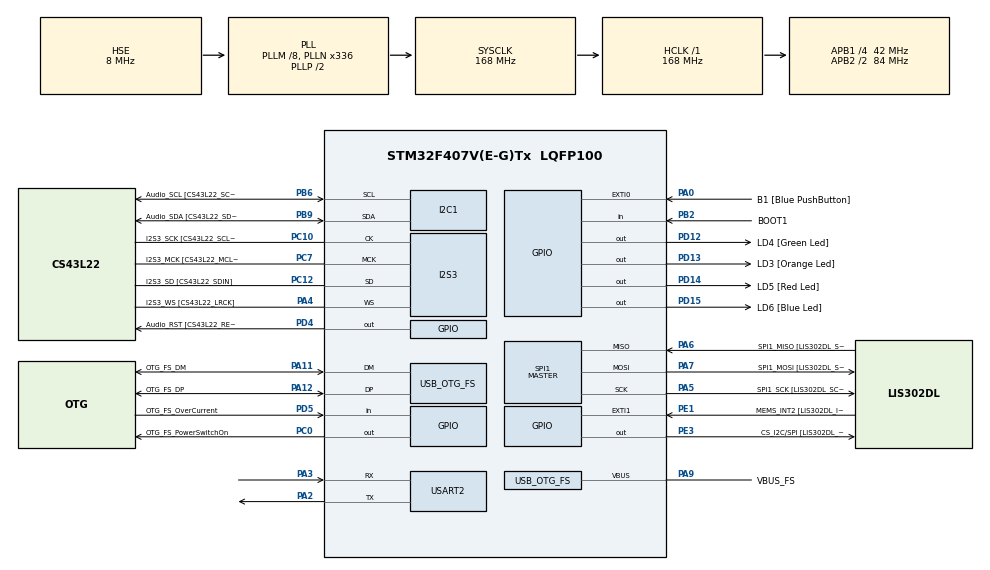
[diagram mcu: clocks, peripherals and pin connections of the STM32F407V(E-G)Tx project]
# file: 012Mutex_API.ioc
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I2S3.AudioFreq-Half_Duplex_Master=I2S_AUDIOFREQ_96K
I2S3.ErrorAudioFreq=-2.34 %
I2S3.ErrorAudioFreq-Half_Duplex_Master=0.8 %
I2S3.FullDuplexMode=I2S_FULLDUPLEXMODE_DISABLE
I2S3.Instance=SPI$Index
I2S3.RealAudioFreq=93.75 KHz
I2S3.RealAudioFreq-Half_Duplex_Master=96.774 KHz
I2S3.VirtualMode=I2S_MODE_MASTER
Mcu.Family=STM32F4
Mcu.Name=STM32F407V(E-G)Tx
Mcu.Package=LQFP100
NVIC.OTG_FS_IRQn=true\:0\:0\:false\:false\:true\:true\:true\:true
NVIC.PriorityGroup=NVIC_PRIORITYGROUP_4
NVIC.TIM6_DAC_IRQn=true\:0\:0\:false\:false\:true\:false\:true\:true
NVIC.TimeBase=TIM6_DAC_IRQn
NVIC.TimeBaseIP=TIM6
PA0-WKUP.GPIO_Label=B1 [Blue PushButton]
PA0-WKUP.GPIO_ModeDefaultEXTI=GPIO_MODE_EVT_RISING
PA0-WKUP.GPIO_PuPd=GPIO_NOPULL
PA0-WKUP.Signal=GPXTI0
PA10.GPIO_Label=OTG_FS_ID
PA10.GPIO_Mode=GPIO_MODE_AF_PP
PA10.GPIO_PuPd=GPIO_NOPULL
PA10.GPIO_Speed=GPIO_SPEED_FREQ_LOW
PA10.Signal=USB_OTG_FS_ID
PA11.GPIO_Label=OTG_FS_DM
PA11.GPIO_Mode=GPIO_MODE_AF_PP
PA11.GPIO_PuPd=GPIO_NOPULL
PA11.GPIO_Speed=GPIO_SPEED_FREQ_LOW
PA11.Mode=Host_Only
PA11.Signal=USB_OTG_FS_DM
PA12.GPIO_Label=OTG_FS_DP
PA12.GPIO_Mode=GPIO_MODE_AF_PP
PA12.GPIO_PuPd=GPIO_NOPULL
PA12.GPIO_Speed=GPIO_SPEED_FREQ_LOW
PA12.Mode=Host_Only
PA12.Signal=USB_OTG_FS_DP
PA13.GPIO_Label=SWDIO
PA13.Mode=Serial_Wire
PA13.Signal=SYS_JTMS-SWDIO
PA14.GPIO_Label=SWCLK
PA14.Mode=Serial_Wire
PA14.Signal=SYS_JTCK-SWCLK
PA2.Mode=Asynchronous
PA2.Signal=USART2_TX
PA3.Mode=Asynchronous
PA3.Signal=USART2_RX
PA4.GPIO_Label=I2S3_WS [CS43L22_LRCK]
PA4.GPIO_Mode=GPIO_MODE_AF_PP
PA4.GPIO_PuPd=GPIO_NOPULL
PA4.GPIO_Speed=GPIO_SPEED_FREQ_LOW
PA4.Mode=Half_Duplex_Master
PA4.Signal=I2S3_WS
PA5.GPIO_Label=SPI1_SCK [LIS302DL_SCL/SPC]
PA5.GPIO_Mode=GPIO_MODE_AF_PP
PA5.GPIO_PuPd=GPIO_NOPULL
PA5.GPIO_Speed=GPIO_SPEED_FREQ_LOW
PA5.Mode=Full_Duplex_Master
PA5.Signal=SPI1_SCK
PA6.GPIO_Label=SPI1_MISO [LIS302DL_SDO]
PA6.GPIO_Mode=GPIO_MODE_AF_PP
PA6.GPIO_PuPd=GPIO_NOPULL
PA6.GPIO_Speed=GPIO_SPEED_FREQ_LOW
PA6.Mode=Full_Duplex_Master
PA6.Signal=SPI1_MISO
PA7.GPIO_Label=SPI1_MOSI [LIS302DL_SDA/SDI/SDO]
PA7.GPIO_Mode=GPIO_MODE_AF_PP
PA7.GPIO_PuPd=GPIO_NOPULL
PA7.GPIO_Speed=GPIO_SPEED_FREQ_LOW
PA7.Mode=Full_Duplex_Master
PA7.Signal=SPI1_MOSI
PA9.GPIO_Label=VBUS_FS
PA9.GPIO_Mode=GPIO_MODE_INPUT
PA9.GPIO_PuPd=GPIO_NOPULL
PA9.Mode=Activate_VBUS
PA9.Signal=USB_OTG_FS_VBUS
PB10.GPIO_Label=CLK_IN [MP45DT02_CLK]
PB10.GPIO_Mode=GPIO_MODE_AF_PP
PB10.GPIO_PuPd=GPIO_NOPULL
PB10.GPIO_Speed=GPIO_SPEED_FREQ_LOW
PB10.Signal=I2S2_CK
PB2.GPIO_Label=BOOT1
PB2.GPIO_Mode=GPIO_MODE_INPUT
PB2.GPIO_PuPd=GPIO_NOPULL
PB2.Signal=GPIO_Input
PB3.GPIO_Label=SWO
PB3.Signal=SYS_JTDO-SWO
PB6.GPIO_Label=Audio_SCL [CS43L22_SCL]
PB6.GPIO_Mode=GPIO_MODE_AF_OD
PB6.GPIO_Pu=GPIO_PULLUP
PB6.GPIO_PuPd=GPIO_NOPULL
PB6.GPIO_Speed=GPIO_SPEED_FREQ_LOW
PB6.Mode=I2C
PB6.Signal=I2C1_SCL
PB9.GPIO_Label=Audio_SDA [CS43L22_SDA]
PB9.GPIO_Mode=GPIO_MODE_AF_OD
PB9.GPIO_Pu=GPIO_PULLUP
PB9.GPIO_PuPd=GPIO_NOPULL
PB9.GPIO_Speed=GPIO_SPEED_FREQ_LOW
PB9.Mode=I2C
PB9.Signal=I2C1_SDA
PC0.GPIO_Label=OTG_FS_PowerSwitchOn
PC0.GPIO_PuPd=GPIO_NOPULL
PC0.GPIO_Speed=GPIO_SPEED_FREQ_LOW
PC0.PinState=GPIO_PIN_SET
PC0.Signal=GPIO_Output
PC10.GPIO_Label=I2S3_SCK [CS43L22_SCLK]
PC10.GPIO_Mode=GPIO_MODE_AF_PP
PC10.GPIO_PuPd=GPIO_NOPULL
PC10.GPIO_Speed=GPIO_SPEED_FREQ_LOW
PC10.Mode=Half_Duplex_Master
PC10.Signal=I2S3_CK
PC12.GPIO_Label=I2S3_SD [CS43L22_SDIN]
PC12.GPIO_Mode=GPIO_MODE_AF_PP
PC12.GPIO_PuPd=GPIO_NOPULL
PC12.GPIO_Speed=GPIO_SPEED_FREQ_LOW
PC12.Mode=Half_Duplex_Master
PC12.Signal=I2S3_SD
PC14-OSC32_IN.GPIO_Label=PC14-OSC32_IN
PC14-OSC32_IN.Mode=LSE-External-Oscillator
PC14-OSC32_IN.Signal=RCC_OSC32_IN
PC15-OSC32_OUT.GPIO_Label=PC15-OSC32_OUT
PC15-OSC32_OUT.Mode=LSE-External-Oscillator
PC15-OSC32_OUT.Signal=RCC_OSC32_OUT
PC3.GPIO_Label=PDM_OUT [MP45DT02_DOUT]
PC3.GPIO_Mode=GPIO_MODE_AF_PP
PC3.GPIO_PuPd=GPIO_NOPULL
PC3.GPIO_Speed=GPIO_SPEED_FREQ_LOW
PC3.Signal=I2S2_SD
PC7.GPIO_Label=I2S3_MCK [CS43L22_MCLK]
PC7.GPIO_Mode=GPIO_MODE_AF_PP
PC7.GPIO_PuPd=GPIO_NOPULL
PC7.GPIO_Speed=GPIO_SPEED_FREQ_LOW
PC7.Mode=Master_Clock_Activated
PC7.Signal=I2S3_MCK
PD12.GPIO_Label=LD4 [Green Led]
PD12.GPIO_PuPd=GPIO_NOPULL
PD12.GPIO_Speed=GPIO_SPEED_FREQ_LOW
PD12.Signal=GPIO_Output
PD13.GPIO_Label=LD3 [Orange Led]
PD13.GPIO_PuPd=GPIO_NOPULL
PD13.GPIO_Speed=GPIO_SPEED_FREQ_LOW
PD13.Signal=GPIO_Output
PD14.GPIO_Label=LD5 [Red Led]
PD14.GPIO_PuPd=GPIO_NOPULL
PD14.GPIO_Speed=GPIO_SPEED_FREQ_LOW
PD14.Signal=GPIO_Output
PD15.GPIO_Label=LD6 [Blue Led]
PD15.GPIO_PuPd=GPIO_NOPULL
PD15.GPIO_Speed=GPIO_SPEED_FREQ_LOW
PD15.Signal=GPIO_Output
PD4.GPIO_Label=Audio_RST [CS43L22_RESET]
PD4.GPIO_PuPd=GPIO_NOPULL
PD4.GPIO_Speed=GPIO_SPEED_FREQ_LOW
PD4.Signal=GPIO_Output
PD5.GPIO_Label=OTG_FS_OverCurrent
PD5.GPIO_Mode=GPIO_MODE_INPUT
PD5.GPIO_PuPd=GPIO_NOPULL
PD5.Signal=GPIO_Input
PE1.GPIO_Label=MEMS_INT2 [LIS302DL_INT2]
PE1.GPIO_ModeDefaultEXTI=GPIO_MODE_EVT_RISING
PE1.GPIO_PuPd=GPIO_NOPULL
PE1.Signal=GPXTI1
PE3.GPIO_Label=CS_I2C/SPI [LIS302DL_CS_I2C/SPI]
PE3.GPIO_PuPd=GPIO_NOPULL
PE3.GPIO_Speed=GPIO_SPEED_FREQ_LOW
PE3.Signal=GPIO_Output
PH0-OSC_IN.GPIO_Label=PH0-OSC_IN
PH0-OSC_IN.Mode=HSE-External-Oscillator
PH0-OSC_IN.Signal=RCC_OSC_IN
PH1-OSC_OUT.GPIO_Label=PH1-OSC_OUT
PH1-OSC_OUT.Mode=HSE-External-Oscillator
PH1-OSC_OUT.Signal=RCC_OSC_OUT
ProjectManager.HeapSize=0x200
ProjectManager.StackSize=0x400
ProjectManager.TargetToolchain=STM32CubeIDE
RCC.48MHZClocksFreq_Value=48000000
RCC.AHBFreq_Value=168000000
RCC.APB1CLKDivider=RCC_HCLK_DIV4
RCC.APB1Freq_Value=42000000
RCC.APB1TimFreq_Value=84000000
RCC.APB2CLKDivider=RCC_HCLK_DIV2
RCC.APB2Freq_Value=84000000
RCC.APB2TimFreq_Value=168000000
RCC.CortexFreq_Value=168000000
RCC.HCLKFreq_Value=168000000
RCC.HSE_VALUE=8000000
RCC.HSI_VALUE=16000000
RCC.PLLM=8
RCC.PLLN=336
RCC.PLLQ=7
RCC.SYSCLKFreq_VALUE=168000000
RCC.SYSCLKSource=RCC_SYSCLKSOURCE_PLLCLK
RCC.VCOOutputFreq_Value=336000000
SPI1.BaudRatePrescaler-Full_Duplex_Master=SPI_BAUDRATEPRESCALER_2
SPI1.CalculateBaudRate-Full_Duplex_Master=42.0 MBits/s
SPI1.Direction=SPI_DIRECTION_2LINES
SPI1.Mode=SPI_MODE_MASTER
SPI1.Mode-Full_Duplex_Master=SPI_MODE_MASTER
SPI1.VirtualType=VM_MASTER
USART2.VirtualMode=VM_ASYNC
USB_HOST.BSP.number=1
USB_HOST.USBH_HandleTypeDef-CDC_FS=hUsbHostFS
USB_HOST.VirtualModeFS=Cdc
USB_HOST0.BSP.STBoard=false
USB_HOST0.BSP.api=Unknown
USB_HOST0.BSP.instance=PC0
USB_HOST0.BSP.ip=GPIO
USB_HOST0.BSP.mode=Output
USB_HOST0.BSP.name=Drive_VBUS_FS
USB_HOST0.BSP.solution=PC0
USB_OTG_FS.VirtualMode=Host_Only
USB_OTG_FS.phy_itface=HCD_PHY_EMBEDDED
VP_SYS_VS_tim6.Mode=TIM6
VP_USB_HOST_VS_USB_HOST_CDC_FS.Mode=CDC_FS
board=STM32F407G-DISC1

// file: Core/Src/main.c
/* USER CODE BEGIN Header */
/**
  ******************************************************************************
  * @file           : main.c
  * @brief          : Main program body
  ******************************************************************************
  * @attention
  *
  * Copyright (c) 2024 STMicroelectronics.
  * All rights reserved.
  *
  * This software is licensed under terms that can be found in the LICENSE file
  * in the root directory of this software component.
  * If no LICENSE file comes with this software, it is provided AS-IS.
  *
  ******************************************************************************
  */
/* USER CODE END Header */
#include "main.h"
#include "usb_host.h"

/* USER CODE BEGIN Includes */

//MUTEX switch : un-comment the below line to use mutex
#define USE_MUTEX

#include <stdio.h>
#include <stdlib.h>
#include <string.h>
#include "FreeRTOS.h"
#include "task.h"
#include "semphr.h"
/* USER CODE END Includes */

I2C_HandleTypeDef hi2c1;

I2S_HandleTypeDef hi2s3;

SPI_HandleTypeDef hspi1;

UART_HandleTypeDef huart2;

void SystemClock_Config(void);
static void MX_GPIO_Init(void);
static void MX_I2C1_Init(void);
static void MX_I2S3_Init(void);
static void MX_SPI1_Init(void);
static void MX_USART2_UART_Init(void);
void MX_USB_HOST_Process(void);

/* USER CODE BEGIN 0 */
char usr_msg[250]={0};
TaskHandle_t xTaskHandle1=NULL;
TaskHandle_t xTaskHandle2=NULL;

/* Dimensions the buffer into which messages destined for stdout are placed. */
#define mainMAX_MSG_LEN	( 80 )

/* The task to be created.  Two instances of this task are created. */
static void prvPrintTask( void *pvParameters );

/* The function that uses a mutex to control access to standard out. */
static void prvNewPrintString( const portCHAR *pcString );

#ifdef USE_MUTEX
/* Declare a variable of type xSemaphoreHandle.  This is used to reference the
mutex type semaphore that is used to ensure mutual exclusive access to UART. */
xSemaphoreHandle xMutex;
#endif
/* USER CODE END 0 */

int main(void)
{

  /* MCU Configuration--------------------------------------------------------*/

  /* Reset of all peripherals, Initializes the Flash interface and the Systick. */
  HAL_Init();

  /* Configure the system clock */
  SystemClock_Config();

  /* Initialize all configured peripherals */
  MX_GPIO_Init();
  MX_I2C1_Init();
  MX_I2S3_Init();
  MX_SPI1_Init();
  MX_USB_HOST_Init();
  MX_USART2_UART_Init();
  /* USER CODE BEGIN 2 */

#ifdef USE_MUTEX
    /* Before a semaphore is used it must be explicitly created.  In this example
	a mutex type semaphore is created. */
    xMutex = xSemaphoreCreateMutex();
#endif

	/* The tasks are going to use a pseudo random delay, seed the random number
	generator. */
	srand( 567 );

#ifdef USE_MUTEX
	/* Only create the tasks if the semaphore was created successfully. */
	if( xMutex != NULL )
	{
#endif
		/* Create two instances of the tasks that attempt to write stdout.  The
		string they attempt to write is passed in as the task parameter.  The tasks
		are created at different priorities so some pre-emption will occur. */
		xTaskCreate( prvPrintTask, "Print1", 240, "Task 1 ******************************************\r\n", 1, NULL );
		xTaskCreate( prvPrintTask, "Print2", 240, "Task 2 ------------------------------------------\r\n", 2, NULL );

		/* Start the scheduler so the created tasks start executing. */
		vTaskStartScheduler();
#ifdef USE_MUTEX
	}
#endif
  /* USER CODE END 2 */

  /* Infinite loop */
  while (1)
  {
    MX_USB_HOST_Process();

  }
}

void SystemClock_Config(void)
{
  RCC_OscInitTypeDef RCC_OscInitStruct = {0};
  RCC_ClkInitTypeDef RCC_ClkInitStruct = {0};

  /** Configure the main internal regulator output voltage
  */
  __HAL_RCC_PWR_CLK_ENABLE();
  __HAL_PWR_VOLTAGESCALING_CONFIG(PWR_REGULATOR_VOLTAGE_SCALE1);

  /** Initializes the RCC Oscillators according to the specified parameters
  * in the RCC_OscInitTypeDef structure.
  */
  RCC_OscInitStruct.OscillatorType = RCC_OSCILLATORTYPE_HSE;
  RCC_OscInitStruct.HSEState = RCC_HSE_ON;
  RCC_OscInitStruct.PLL.PLLState = RCC_PLL_ON;
  RCC_OscInitStruct.PLL.PLLSource = RCC_PLLSOURCE_HSE;
  RCC_OscInitStruct.PLL.PLLM = 8;
  RCC_OscInitStruct.PLL.PLLN = 336;
  RCC_OscInitStruct.PLL.PLLP = RCC_PLLP_DIV2;
  RCC_OscInitStruct.PLL.PLLQ = 7;
  if (HAL_RCC_OscConfig(&RCC_OscInitStruct) != HAL_OK)
  {
    Error_Handler();
  }

  /** Initializes the CPU, AHB and APB buses clocks
  */
  RCC_ClkInitStruct.ClockType = RCC_CLOCKTYPE_HCLK|RCC_CLOCKTYPE_SYSCLK
                              |RCC_CLOCKTYPE_PCLK1|RCC_CLOCKTYPE_PCLK2;
  RCC_ClkInitStruct.SYSCLKSource = RCC_SYSCLKSOURCE_PLLCLK;
  RCC_ClkInitStruct.AHBCLKDivider = RCC_SYSCLK_DIV1;
  RCC_ClkInitStruct.APB1CLKDivider = RCC_HCLK_DIV4;
  RCC_ClkInitStruct.APB2CLKDivider = RCC_HCLK_DIV2;

  if (HAL_RCC_ClockConfig(&RCC_ClkInitStruct, FLASH_LATENCY_5) != HAL_OK)
  {
    Error_Handler();
  }
}

static void MX_I2C1_Init(void)
{

  hi2c1.Instance = I2C1;
  hi2c1.Init.ClockSpeed = 100000;
  hi2c1.Init.DutyCycle = I2C_DUTYCYCLE_2;
  hi2c1.Init.OwnAddress1 = 0;
  hi2c1.Init.AddressingMode = I2C_ADDRESSINGMODE_7BIT;
  hi2c1.Init.DualAddressMode = I2C_DUALADDRESS_DISABLE;
  hi2c1.Init.OwnAddress2 = 0;
  hi2c1.Init.GeneralCallMode = I2C_GENERALCALL_DISABLE;
  hi2c1.Init.NoStretchMode = I2C_NOSTRETCH_DISABLE;
  if (HAL_I2C_Init(&hi2c1) != HAL_OK)
  {
    Error_Handler();
  }

}

static void MX_I2S3_Init(void)
{

  hi2s3.Instance = SPI3;
  hi2s3.Init.Mode = I2S_MODE_MASTER_TX;
  hi2s3.Init.Standard = I2S_STANDARD_PHILIPS;
  hi2s3.Init.DataFormat = I2S_DATAFORMAT_16B;
  hi2s3.Init.MCLKOutput = I2S_MCLKOUTPUT_ENABLE;
  hi2s3.Init.AudioFreq = I2S_AUDIOFREQ_96K;
  hi2s3.Init.CPOL = I2S_CPOL_LOW;
  hi2s3.Init.ClockSource = I2S_CLOCK_PLL;
  hi2s3.Init.FullDuplexMode = I2S_FULLDUPLEXMODE_DISABLE;
  if (HAL_I2S_Init(&hi2s3) != HAL_OK)
  {
    Error_Handler();
  }

}

static void MX_SPI1_Init(void)
{

  /* SPI1 parameter configuration*/
  hspi1.Instance = SPI1;
  hspi1.Init.Mode = SPI_MODE_MASTER;
  hspi1.Init.Direction = SPI_DIRECTION_2LINES;
  hspi1.Init.DataSize = SPI_DATASIZE_8BIT;
  hspi1.Init.CLKPolarity = SPI_POLARITY_LOW;
  hspi1.Init.CLKPhase = SPI_PHASE_1EDGE;
  hspi1.Init.NSS = SPI_NSS_SOFT;
  hspi1.Init.BaudRatePrescaler = SPI_BAUDRATEPRESCALER_2;
  hspi1.Init.FirstBit = SPI_FIRSTBIT_MSB;
  hspi1.Init.TIMode = SPI_TIMODE_DISABLE;
  hspi1.Init.CRCCalculation = SPI_CRCCALCULATION_DISABLE;
  hspi1.Init.CRCPolynomial = 10;
  if (HAL_SPI_Init(&hspi1) != HAL_OK)
  {
    Error_Handler();
  }

}

static void MX_USART2_UART_Init(void)
{

  huart2.Instance = USART2;
  huart2.Init.BaudRate = 115200;
  huart2.Init.WordLength = UART_WORDLENGTH_8B;
  huart2.Init.StopBits = UART_STOPBITS_1;
  huart2.Init.Parity = UART_PARITY_NONE;
  huart2.Init.Mode = UART_MODE_TX_RX;
  huart2.Init.HwFlowCtl = UART_HWCONTROL_NONE;
  huart2.Init.OverSampling = UART_OVERSAMPLING_16;
  if (HAL_UART_Init(&huart2) != HAL_OK)
  {
    Error_Handler();
  }

}

static void MX_GPIO_Init(void)
{
  GPIO_InitTypeDef GPIO_InitStruct = {0};

  /* GPIO Ports Clock Enable */
  __HAL_RCC_GPIOE_CLK_ENABLE();
  __HAL_RCC_GPIOC_CLK_ENABLE();
  __HAL_RCC_GPIOH_CLK_ENABLE();
  __HAL_RCC_GPIOA_CLK_ENABLE();
  __HAL_RCC_GPIOB_CLK_ENABLE();
  __HAL_RCC_GPIOD_CLK_ENABLE();

  /*Configure GPIO pin Output Level */
  HAL_GPIO_WritePin(CS_I2C_SPI_GPIO_Port, CS_I2C_SPI_Pin, GPIO_PIN_RESET);

  /*Configure GPIO pin Output Level */
  HAL_GPIO_WritePin(OTG_FS_PowerSwitchOn_GPIO_Port, OTG_FS_PowerSwitchOn_Pin, GPIO_PIN_SET);

  /*Configure GPIO pin Output Level */
  HAL_GPIO_WritePin(GPIOD, LD4_Pin|LD3_Pin|LD5_Pin|LD6_Pin
                          |Audio_RST_Pin, GPIO_PIN_RESET);

  /*Configure GPIO pin : CS_I2C_SPI_Pin */
  GPIO_InitStruct.Pin = CS_I2C_SPI_Pin;
  GPIO_InitStruct.Mode = GPIO_MODE_OUTPUT_PP;
  GPIO_InitStruct.Pull = GPIO_NOPULL;
  GPIO_InitStruct.Speed = GPIO_SPEED_FREQ_LOW;
  HAL_GPIO_Init(CS_I2C_SPI_GPIO_Port, &GPIO_InitStruct);

  /*Configure GPIO pin : OTG_FS_PowerSwitchOn_Pin */
  GPIO_InitStruct.Pin = OTG_FS_PowerSwitchOn_Pin;
  GPIO_InitStruct.Mode = GPIO_MODE_OUTPUT_PP;
  GPIO_InitStruct.Pull = GPIO_NOPULL;
  GPIO_InitStruct.Speed = GPIO_SPEED_FREQ_LOW;
  HAL_GPIO_Init(OTG_FS_PowerSwitchOn_GPIO_Port, &GPIO_InitStruct);

  /*Configure GPIO pin : PDM_OUT_Pin */
  GPIO_InitStruct.Pin = PDM_OUT_Pin;
  GPIO_InitStruct.Mode = GPIO_MODE_AF_PP;
  GPIO_InitStruct.Pull = GPIO_NOPULL;
  GPIO_InitStruct.Speed = GPIO_SPEED_FREQ_LOW;
  GPIO_InitStruct.Alternate = GPIO_AF5_SPI2;
  HAL_GPIO_Init(PDM_OUT_GPIO_Port, &GPIO_InitStruct);

  /*Configure GPIO pin : B1_Pin */
  GPIO_InitStruct.Pin = B1_Pin;
  GPIO_InitStruct.Mode = GPIO_MODE_EVT_RISING;
  GPIO_InitStruct.Pull = GPIO_NOPULL;
  HAL_GPIO_Init(B1_GPIO_Port, &GPIO_InitStruct);

  /*Configure GPIO pin : BOOT1_Pin */
  GPIO_InitStruct.Pin = BOOT1_Pin;
  GPIO_InitStruct.Mode = GPIO_MODE_INPUT;
  GPIO_InitStruct.Pull = GPIO_NOPULL;
  HAL_GPIO_Init(BOOT1_GPIO_Port, &GPIO_InitStruct);

  /*Configure GPIO pin : CLK_IN_Pin */
  GPIO_InitStruct.Pin = CLK_IN_Pin;
  GPIO_InitStruct.Mode = GPIO_MODE_AF_PP;
  GPIO_InitStruct.Pull = GPIO_NOPULL;
  GPIO_InitStruct.Speed = GPIO_SPEED_FREQ_LOW;
  GPIO_InitStruct.Alternate = GPIO_AF5_SPI2;
  HAL_GPIO_Init(CLK_IN_GPIO_Port, &GPIO_InitStruct);

  /*Configure GPIO pins : LD4_Pin LD3_Pin LD5_Pin LD6_Pin
                           Audio_RST_Pin */
  GPIO_InitStruct.Pin = LD4_Pin|LD3_Pin|LD5_Pin|LD6_Pin
                          |Audio_RST_Pin;
  GPIO_InitStruct.Mode = GPIO_MODE_OUTPUT_PP;
  GPIO_InitStruct.Pull = GPIO_NOPULL;
  GPIO_InitStruct.Speed = GPIO_SPEED_FREQ_LOW;
  HAL_GPIO_Init(GPIOD, &GPIO_InitStruct);

  /*Configure GPIO pin : OTG_FS_OverCurrent_Pin */
  GPIO_InitStruct.Pin = OTG_FS_OverCurrent_Pin;
  GPIO_InitStruct.Mode = GPIO_MODE_INPUT;
  GPIO_InitStruct.Pull = GPIO_NOPULL;
  HAL_GPIO_Init(OTG_FS_OverCurrent_GPIO_Port, &GPIO_InitStruct);

  /*Configure GPIO pin : MEMS_INT2_Pin */
  GPIO_InitStruct.Pin = MEMS_INT2_Pin;
  GPIO_InitStruct.Mode = GPIO_MODE_EVT_RISING;
  GPIO_InitStruct.Pull = GPIO_NOPULL;
  HAL_GPIO_Init(MEMS_INT2_GPIO_Port, &GPIO_InitStruct);

}

/* USER CODE BEGIN 4 */

static void prvNewPrintString( const portCHAR *pcString )
{
	static char cBuffer[ mainMAX_MSG_LEN ];

#ifdef USE_MUTEX
	/* The semaphore is created before the scheduler is started so already
	exists by the time this task executes.

	Attempt to take the semaphore, blocking indefinitely if the mutex is not
	available immediately.  The call to xSemaphoreTake() will only return when
	the semaphore has been successfully obtained so there is no need to check the
	return value.  If any other delay period was used then the code must check
	that xSemaphoreTake() returns pdTRUE before accessing the resource (in this
	case standard out. */
	xSemaphoreTake( xMutex, portMAX_DELAY );
	{
#endif
		/* The following line will only execute once the semaphore has been
		successfully obtained - so standard out can be accessed freely. */
		sprintf( cBuffer, "%s", pcString );
		printf(cBuffer);
#ifdef USE_MUTEX
	}
	xSemaphoreGive( xMutex );
#endif

}

static void prvPrintTask( void *pvParameters )
{
	char *pcStringToPrint;

	/* Two instances of this task are created so the string the task will send
	to prvNewPrintString() is passed in the task parameter.  Cast this to the
	required type. */
	pcStringToPrint = ( char * ) pvParameters;

	for( ;; )
	{
		/* Print out the string using the newly defined function. */
		prvNewPrintString( pcStringToPrint );

		/* Wait a pseudo random time.  Note that rand() is not necessarily
		re-entrant, but in this case it does not really matter as the code does
		not care what value is returned.  In a more secure application a version
		of rand() that is known to be re-entrant should be used - or calls to
		rand() should be protected using a critical section. */
		vTaskDelay( rand() & 0xF );
	}
}
/* USER CODE END 4 */

void HAL_TIM_PeriodElapsedCallback(TIM_HandleTypeDef *htim)
{
  if (htim->Instance == TIM6) {
    HAL_IncTick();
  }
}

void Error_Handler(void)
{
  __disable_irq();
  while (1)
  {
  }
}
